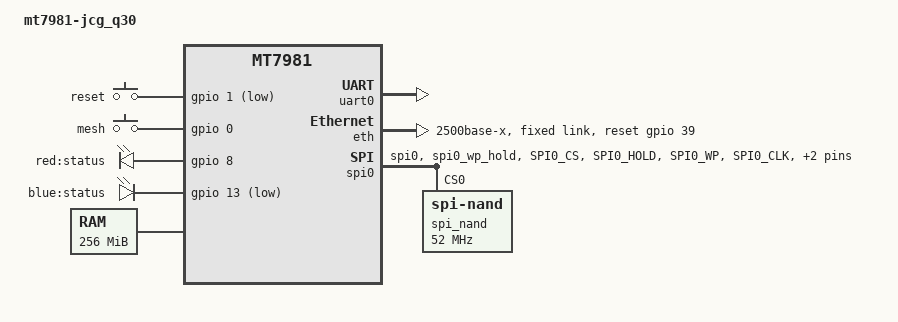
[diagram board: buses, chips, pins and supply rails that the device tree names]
// SPDX-License-Identifier: GPL-2.0-or-later OR MIT

/dts-v1/;
#include "mt7981.dtsi"
#include <dt-bindings/gpio/gpio.h>

/ {
	#address-cells = <1>;
	#size-cells = <1>;
	model = "mt7981-jcg_q30";
	compatible = "mediatek,mt7981", "mediatek,mt7981-rfb";

	chosen {
		stdout-path = &uart0;
		tick-timer = &timer0;
	};

	config {
		bootcmd = "mtkboardboot";
		blink_led = "red:status";
		system_led = "blue:status";
	};

	mtd-layout {
		layout@0 {
			label = "default";
			// mtd layout for default
			mtdids = "nmbm0=nmbm0";
			mtdparts = "nmbm0:1024k(bl2),512k(u-boot-env),2048k(Factory),2048k(fip),113152k(ubi)";
		};

		layout@1 {
			label = "immortalwrt-112m";
			// mtd layout for immortalwrt/openwrt 112M ubi firmware
			mtdids = "nmbm0=nmbm0";
			mtdparts = "nmbm0:1024k(bl2),256k(Nvram),256k(Bdata),2048k(factory),2048k(fip),256k(crash),256k(crash_log),112m(ubi),256k(KF)";
		};

		layout@2 {
			label = "qwrt";
			// mtd layout for lean qwrt
			mtdids = "nmbm0=nmbm0";
			mtdparts = "nmbm0:1024k(bl2),256k(Nvram),256k(Bdata),2048k(factory),2048k(fip),256k(crash),256k(crash_log),1024k(rsv0),110m(ubi)";
		};

		layout@3 {
			label = "iKuai";
			// mtd layout for iKuai
			mtdids = "nmbm0=nmbm0";
			mtdparts = "nmbm0:1024k(bl2),512k(u-boot-env),2048k(Factory),2048k(fip),65536k(ubi)";
		};
	};

	gpio-keys {
		compatible = "gpio-keys";

		button-reset {
			label = "reset";
			linux,code = <KEY_RESTART>;
			gpios = <&gpio 1 GPIO_ACTIVE_LOW>;
		};

		button-mesh {
			label = "mesh";
			linux,code = <BTN_9>;
			gpios = <&gpio 0 GPIO_ACTIVE_HIGH>;
		};
	};

	leds {
		compatible = "gpio-leds";

		status_red_led: led-0 {
			label = "red:status";
			gpios = <&gpio 8 GPIO_ACTIVE_HIGH>;
		};

		status_blue_led: led-1 {
			label = "blue:status";
			gpios = <&gpio 13 GPIO_ACTIVE_LOW>;
		};
	};

	memory@40000000 {
		device_type = "memory";
		reg = <0x40000000 0x10000000>;
	};

	bl2_verify {
		bl2_compatible = "spim-nand";
	};
};

&uart0 {
	status = "okay";
};

&eth {
	status = "okay";
	mediatek,gmac-id = <0>;
	phy-mode = "2500base-x";
	mediatek,switch = "mt7531";
	reset-gpios = <&gpio 39 GPIO_ACTIVE_HIGH>;

	fixed-link {
		speed = <2500>;
		full-duplex;
	};
};

&pinctrl {
	spi_flash_pins: spi0-pins-func-1 {
		mux {
			function = "flash";
			groups = "spi0", "spi0_wp_hold";
		};

		conf-pu {
			pins = "SPI0_CS", "SPI0_HOLD", "SPI0_WP";
			drive-strength = <MTK_DRIVE_8mA>;
			bias-pull-up = <MTK_PUPD_SET_R1R0_11>;
		};

		conf-pd {
			pins = "SPI0_CLK", "SPI0_MOSI", "SPI0_MISO";
			drive-strength = <MTK_DRIVE_8mA>;
			bias-pull-down = <MTK_PUPD_SET_R1R0_11>;
		};
	};
};

&spi0 {
	#address-cells = <1>;
	#size-cells = <0>;
	pinctrl-names = "default";
	pinctrl-0 = <&spi_flash_pins>;
	status = "okay";
	must_tx;
	enhance_timing;
	dma_ext;
	ipm_design;
	support_quad;
	tick_dly = <2>;
	sample_sel = <0>;

	spi_nand@0 {
		compatible = "spi-nand";
		reg = <0>;
		spi-max-frequency = <52000000>;
	};
};

&watchdog {
	status = "disabled";
};
